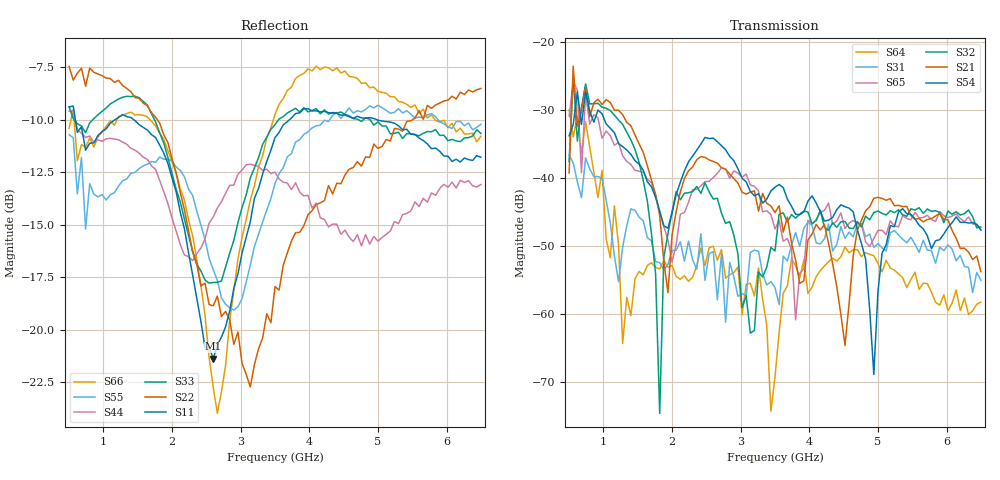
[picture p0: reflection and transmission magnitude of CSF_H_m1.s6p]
!Keysight Technologies,M9804A,MY58100912,A.14.10.03
!Date: Thursday, April 27, 2023 10:28:33
!Correction: S11(C  6-Port  )
!S12(C  6-Port  )
!S13(C  6-Port  )
!S14(C  6-Port  )
!S15(C  6-Port  )
!S16(C  6-Port  )
!S21(C  6-Port  )
!S22(C  6-Port  )
!S23(C  6-Port  )
!S24(C  6-Port  )
!S25(C  6-Port  )
!S26(C  6-Port  )
!S31(C  6-Port  )
!S32(C  6-Port  )
!S33(C  6-Port  )
!S34(C  6-Port  )
!S35(C  6-Port  )
!S36(C  6-Port  )
!S41(C  6-Port  )
!S42(C  6-Port  )
!S43(C  6-Port  )
!S44(C  6-Port  )
!S45(C  6-Port  )
!S46(C  6-Port  )
!S51(C  6-Port  )
!S52(C  6-Port  )
!S53(C  6-Port  )
!S54(C  6-Port  )
!S55(C  6-Port  )
!S56(C  6-Port  )
!S61(C  6-Port  )
!S62(C  6-Port  )
!S63(C  6-Port  )
!S64(C  6-Port  )
!S65(C  6-Port  )
!S66(C  6-Port  )
!S6P File: Measurement: :
# Hz S  RI  R 50
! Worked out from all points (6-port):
!   101 points, 500 MHz to 6.5 GHz, reference 50 ohm
!   strongest paths, dB at 500 MHz, 2 GHz, 3.5 GHz, 5 GHz, 6.5 GHz:
!     S54: -33.8, -45.1, -41.4, -56.7, -47.7
!     S21: -39.3, -48.4, -45.1, -42.9, -53.8
!     S32: -37.6, -45.0, -50.7, -44.9, -47.2
!     S65: -30.9, -52.3, -47.5, -47.7, -47.6
!     S31: -36.6, -50.6, -56.1, -49.6, -55.0
!     S64: -30.0, -52.8, -69.2, -52.5, -58.2
!   lowest |S11| = -21.4 dB at 2.6 GHz (marker M1), VSWR 1.19, Z = 42.4 + j2.18 ohm
!   |S11| at or under -10 dB: 590.8 MHz to 1.172 GHz (580.7 MHz wide, 65.9 % of centre); 1.439 GHz to 3.714 GHz (2.275 GHz wide, 88.3 % of centre); 4.979 GHz to end of sweep
